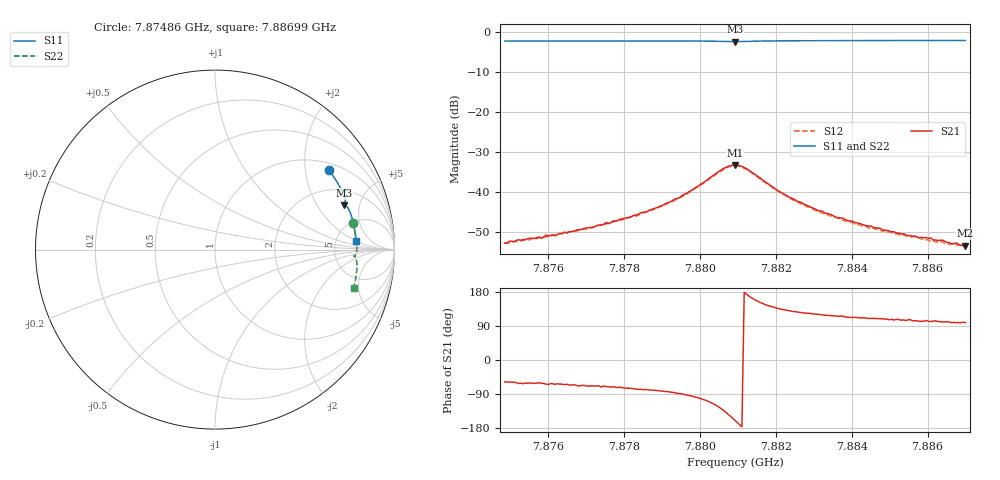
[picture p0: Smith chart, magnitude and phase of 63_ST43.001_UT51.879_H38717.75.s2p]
#  HZ  S  DB  R  50.00
! Rohde & Schwarz Vector Network Analyzer
! Rohde-Schwarz,ZNB20-2Port,1311601062101988,3.16
! Created: UTC 1/12/2023, 6:33:50 PM
! freq[Hz]  db:S11  ang:S11  db:S21  ang:S21  db:S12  ang:S12  db:S22  ang:S22
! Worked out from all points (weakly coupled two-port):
!   201 points, 7.87486 GHz to 7.88699 GHz, reference 50 ohm
!   highest |S21| = -33.17 dB at 7.88093 GHz (marker M1); lowest = -53.3 dB at 7.88699 GHz (marker M2)
!   lowest |S11| = -2.4 dB at 7.88093 GHz (marker M3), VSWR 7.40, Z = 151 + j178 ohm
!   |S11| at or under -10 dB: nowhere
!   |S22| runs from -2.2 to -1.9 dB; largest |S21 - S12| = 0.0013
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7.874864e9  -2.23 34.9  -52.67 -57.7  -52.57 -60.9  -2.14 10.9
7.875531e9  -2.22 33.1  -51.44 -60.5  -51.88 -63.2  -2.12 9.3
7.875834e9  -2.21 32.3  -51.52 -61.4  -51.14 -65.2  -2.11 8.6
7.875956e9  -2.21 31.9  -50.67 -63.7  -51.19 -66.2  -2.11 8.3
7.876198e9  -2.20 31.3  -50.88 -64.3  -50.53 -66.0  -2.10 7.7
7.876441e9  -2.20 30.6  -49.91 -65.2  -49.97 -68.1  -2.10 7.2
7.876926e9  -2.20 29.3  -49.13 -66.6  -49.23 -70.9  -2.08 6.0
7.877472e9  -2.19 27.8  -47.99 -68.6  -48.33 -73.4  -2.08 4.7
7.878928e9  -2.18 23.7  -43.59 -81.2  -43.76 -83.6  -2.04 1.3
7.879474e9  -2.18 22.2  -41.29 -88.6  -41.39 -91.7  -2.06 -0.1
7.880626e9  -2.32 19.1  -34.04 -132.6  -34.27 -136.0  -2.20 -2.7
7.880929e9  -2.36 18.9  -33.17 -159.7  -33.35 -162.9  -2.23 -2.8
7.881233e9  -2.31 18.7  -34.09 173.8  -34.29 170.3  -2.19 -2.8
7.882021e9  -2.17 16.7  -39.36 137.0  -39.54 133.5  -2.04 -4.4
7.882992e9  -2.13 14.0  -43.97 121.2  -44.28 118.4  -1.98 -6.7
7.883598e9  -2.12 12.3  -46.31 116.1  -46.30 112.6  -1.96 -8.1
7.884447e9  -2.10 10.0  -48.46 109.6  -48.94 107.0  -1.94 -10.0
7.884993e9  -2.09 8.6  -49.67 106.2  -49.91 105.0  -1.94 -11.2
7.885478e9  -2.09 7.3  -50.85 105.6  -50.90 102.5  -1.93 -12.3
7.886085e9  -2.08 5.7  -51.39 101.4  -52.37 98.6  -1.93 -13.6
7.886388e9  -2.08 4.9  -51.94 100.1  -52.29 99.0  -1.92 -14.3
7.886995e9  -2.08 3.4  -53.30 98.9  -53.26 94.2  -1.92 -15.6
